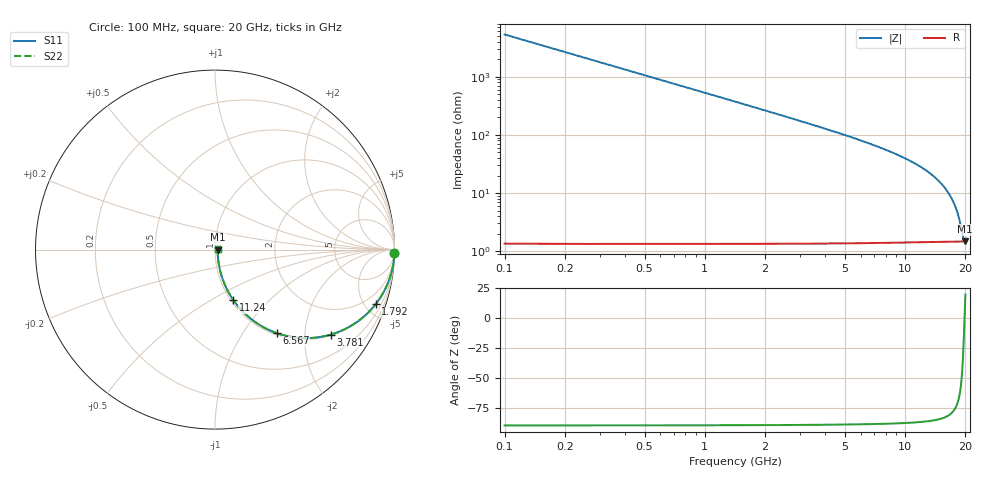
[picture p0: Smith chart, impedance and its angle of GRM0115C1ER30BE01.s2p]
!Murata Part Number: GRM0115C1ER30BE01
!These Parameters are Measured in Series Mode Connection
!Data Generated on Mar 30, 2021
!  o--ll--o
!Port1  Port2
!  o------o
!Operation Temp=25[degC], DC Bias Voltage=0[V]
!Freq. Start=100[MHz] Stop=20[GHz] 401[Steps]
# Hz S RI R 50
!Freq.(Hz) S11(Real) S11(Imag) S21(Real) S21(Imag) S12(Real) S12(Imag) S22(Real) S22(Imag)
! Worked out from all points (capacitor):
!   401 points, 100 MHz to 20 GHz, reference 50 ohm
!   read as one part in series: C = 300 fF near 199.5 MHz
!   lowest |Z| = 1.47 ohm at 19.8 GHz (marker M1)
!   series resonance near 19.8 GHz, so ESL is about 220 pH
!   S11 on the Smith chart (normalised r, x): 100 MHz: open; 1.792 GHz: 1.03, -5.87; 3.781 GHz: 1.03, -2.70; 6.567 GHz: 1.03, -1.44; 11.24 GHz: 1.03, -0.64; 20 GHz: 1.03, +0.01
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1e8  0.9996 -0.0188  0.00036 0.0188  0.00036 0.0188  0.9996 -0.0188
3.4875e8  0.9956 -0.0655  0.00436 0.0655  0.00436 0.0655  0.9956 -0.0655
4.98e8  0.9911 -0.0931  0.00886 0.0931  0.00886 0.0931  0.9911 -0.0931
6.4725e8  0.9851 -0.1203  0.0149 0.1203  0.0149 0.1203  0.9851 -0.1203
1.14475e9  0.9547 -0.2066  0.0453 0.2066  0.0453 0.2066  0.9547 -0.2066
1.7915e9  0.895 -0.3043  0.105 0.3043  0.105 0.3043  0.895 -0.3043
2.53775e9  0.8071 -0.3913  0.1929 0.3913  0.1929 0.3913  0.8071 -0.3913
3.43325e9  0.6903 -0.4579  0.3097 0.4579  0.3097 0.4579  0.6903 -0.4579
3.7815e9  0.6448 -0.4736  0.3552 0.4736  0.3552 0.4736  0.6448 -0.4736
5.02525e9  0.4937 -0.4931  0.5063 0.4931  0.5063 0.4931  0.4937 -0.4931
6.5675e9  0.3434 -0.4653  0.6566 0.4653  0.6566 0.4653  0.3434 -0.4653
6.7665e9  0.3271 -0.4593  0.6729 0.4593  0.6729 0.4593  0.3271 -0.4593
1.005e10  0.1418 -0.3312  0.8582 0.3312  0.8582 0.3312  0.1418 -0.3312
1.1244e10  0.1029 -0.2824  0.8971 0.2824  0.8971 0.2824  0.1029 -0.2824
1.338325e10  0.0566 -0.1999  0.9434 0.1999  0.9434 0.1999  0.0566 -0.1999
1.527375e10  0.0329 -0.1339  0.9671 0.1339  0.9671 0.1339  0.0329 -0.1339
1.67165e10  0.0223 -0.0877  0.9777 0.0877  0.9777 0.0877  0.0223 -0.0877
1.8209e10  0.0164 -0.0436  0.9836 0.0436  0.9836 0.0436  0.0164 -0.0436
1.875625e10  0.0153 -0.0282  0.9847 0.0282  0.9847 0.0282  0.0153 -0.0282
1.955225e10  0.0146 -0.00662  0.9854 0.00662  0.9854 0.00662  0.0146 -0.00662
1.9801e10  0.0145 -6.16e-05  0.9855 6.16e-05  0.9855 6.16e-05  0.0145 -6.16e-05
2e10  0.0146 0.00513  0.9854 -0.00513  0.9854 -0.00513  0.0146 0.00513
